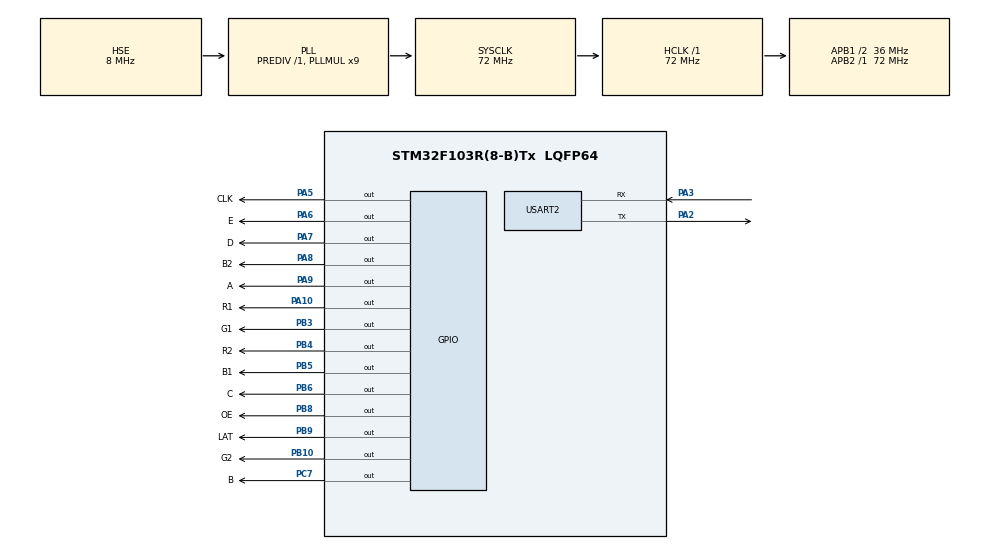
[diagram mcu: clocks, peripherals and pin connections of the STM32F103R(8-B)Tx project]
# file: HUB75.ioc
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Mcu.Family=STM32F1
Mcu.Name=STM32F103R(8-B)Tx
Mcu.Package=LQFP64
NVIC.PriorityGroup=NVIC_PRIORITYGROUP_4
PA10.GPIO_Label=R1
PA10.Signal=GPIO_Output
PA13.Mode=Serial_Wire
PA13.Signal=SYS_JTMS-SWDIO
PA14.Mode=Serial_Wire
PA14.Signal=SYS_JTCK-SWCLK
PA2.Mode=Asynchronous
PA2.Signal=USART2_TX
PA3.Mode=Asynchronous
PA3.Signal=USART2_RX
PA5.GPIO_Label=CLK
PA5.GPIO_ModeDefaultOutputPP=GPIO_MODE_OUTPUT_PP
PA5.GPIO_PuPd=GPIO_PULLUP
PA5.GPIO_Speed=GPIO_SPEED_FREQ_HIGH
PA5.PinState=GPIO_PIN_SET
PA5.Signal=GPIO_Output
PA6.GPIO_Label=E
PA6.GPIO_ModeDefaultOutputPP=GPIO_MODE_OUTPUT_PP
PA6.GPIO_PuPd=GPIO_PULLUP
PA6.GPIO_Speed=GPIO_SPEED_FREQ_HIGH
PA6.PinState=GPIO_PIN_RESET
PA6.Signal=GPIO_Output
PA7.GPIO_Label=D
PA7.GPIO_PuPd=GPIO_PULLUP
PA7.GPIO_Speed=GPIO_SPEED_FREQ_HIGH
PA7.Signal=GPIO_Output
PA8.GPIO_Label=B2
PA8.GPIO_ModeDefaultOutputPP=GPIO_MODE_OUTPUT_PP
PA8.GPIO_PuPd=GPIO_PULLUP
PA8.GPIO_Speed=GPIO_SPEED_FREQ_HIGH
PA8.PinState=GPIO_PIN_RESET
PA8.Signal=GPIO_Output
PA9.GPIO_Label=A
PA9.GPIO_PuPd=GPIO_PULLUP
PA9.GPIO_Speed=GPIO_SPEED_FREQ_HIGH
PA9.Signal=GPIO_Output
PB10.GPIO_Label=G2
PB10.GPIO_PuPd=GPIO_PULLUP
PB10.GPIO_Speed=GPIO_SPEED_FREQ_HIGH
PB10.Signal=GPIO_Output
PB3.GPIO_Label=G1
PB3.Signal=GPIO_Output
PB4.GPIO_Label=R2
PB4.Signal=GPIO_Output
PB5.GPIO_Label=B1
PB5.Signal=GPIO_Output
PB6.GPIO_Label=C
PB6.GPIO_PuPd=GPIO_PULLUP
PB6.GPIO_Speed=GPIO_SPEED_FREQ_HIGH
PB6.Signal=GPIO_Output
PB8.GPIO_Label=OE
PB8.GPIO_PuPd=GPIO_PULLUP
PB8.GPIO_Speed=GPIO_SPEED_FREQ_HIGH
PB8.PinState=GPIO_PIN_SET
PB8.Signal=GPIO_Output
PB9.GPIO_Label=LAT
PB9.GPIO_ModeDefaultOutputPP=GPIO_MODE_OUTPUT_PP
PB9.GPIO_PuPd=GPIO_PULLUP
PB9.GPIO_Speed=GPIO_SPEED_FREQ_HIGH
PB9.PinState=GPIO_PIN_RESET
PB9.Signal=GPIO_Output
PC7.GPIO_Label=B
PC7.GPIO_PuPd=GPIO_PULLUP
PC7.GPIO_Speed=GPIO_SPEED_FREQ_HIGH
PC7.Signal=GPIO_Output
PD0-OSC_IN.Mode=HSE-External-Oscillator
PD0-OSC_IN.Signal=RCC_OSC_IN
PD1-OSC_OUT.Mode=HSE-External-Oscillator
PD1-OSC_OUT.Signal=RCC_OSC_OUT
ProjectManager.HeapSize=0x400
ProjectManager.StackSize=0x800
ProjectManager.TargetToolchain=MDK-ARM V5.32
RCC.AHBFreq_Value=72000000
RCC.APB1CLKDivider=RCC_HCLK_DIV2
RCC.APB1Freq_Value=36000000
RCC.APB1TimFreq_Value=72000000
RCC.APB2Freq_Value=72000000
RCC.APB2TimFreq_Value=72000000
RCC.HCLKFreq_Value=72000000
RCC.PLLMUL=RCC_PLL_MUL9
RCC.PLLSourceVirtual=RCC_PLLSOURCE_HSE
RCC.SYSCLKFreq_VALUE=72000000
RCC.SYSCLKSource=RCC_SYSCLKSOURCE_PLLCLK
RCC.USBFreq_Value=72000000
USART2.VirtualMode=VM_ASYNC
board=custom

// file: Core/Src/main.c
/* USER CODE BEGIN Header */
/**
  ******************************************************************************
  * @file           : main.c
  * @brief          : Main program body
  ******************************************************************************
  * @attention
  *
  * Copyright (c) 2023 STMicroelectronics.
  * All rights reserved.
  *
  * This software is licensed under terms that can be found in the LICENSE file
  * in the root directory of this software component.
  * If no LICENSE file comes with this software, it is provided AS-IS.
  *
  ******************************************************************************
  */
/* USER CODE END Header */
#include "main.h"
#include "usart.h"
#include "gpio.h"

/* USER CODE BEGIN Includes */
#include "RGBMatrix_device.h"
#include "GUI_Paint.h"
/* USER CODE END Includes */

void SystemClock_Config(void);

int main(void)
{
  /* USER CODE BEGIN 1 */

//  Paint_Clear(0xff);
	//memset(BlackImage, 0xff, 8192);
  /* USER CODE END 1 */

  /* MCU Configuration--------------------------------------------------------*/

  /* Reset of all peripherals, Initializes the Flash interface and the Systick. */
  HAL_Init();

  /* Configure the system clock */
  SystemClock_Config();

  /* Initialize all configured peripherals */
  MX_GPIO_Init();
  MX_USART2_UART_Init();
  /* USER CODE BEGIN 2 */
	//Microsecond delay initialization
	DWT_Init();

	//HUB75 initialization
	HUB75_Init();

	//clear screen
	HUB75_Clear();
	printf("Display graphics.\n");

	Paint_DrawPoint(44, 9, WHITE, DOT_PIXEL_1X1, DOT_STYLE_DFT);
	Paint_DrawPoint(47, 8, WHITE, DOT_PIXEL_2X2, DOT_STYLE_DFT);
	Paint_DrawPoint(52, 7, WHITE, DOT_PIXEL_3X3, DOT_STYLE_DFT);
	Paint_DrawPoint(59, 6, WHITE, DOT_PIXEL_4X4, DOT_STYLE_DFT);

	Paint_DrawLine(20, 12, 20, 32, WHITE, DOT_PIXEL_1X1, LINE_STYLE_SOLID);
	Paint_DrawLine(10, 22, 30, 22, WHITE, DOT_PIXEL_1X1, LINE_STYLE_SOLID);
	Paint_DrawCircle(20, 22, 10, GREEN, DOT_PIXEL_1X1, DRAW_FILL_EMPTY);

	Paint_DrawLine(44, 12, 44, 32, WHITE, DOT_PIXEL_1X1, LINE_STYLE_SOLID);
	Paint_DrawLine(34, 22, 54, 22, WHITE, DOT_PIXEL_1X1, LINE_STYLE_SOLID);
	Paint_DrawCircle(44, 22, 10, BLUE, DOT_PIXEL_1X1, DRAW_FILL_EMPTY);

	Paint_DrawLine(42, 38, 64, 64, CYAN, DOT_PIXEL_1X1, LINE_STYLE_DOTTED);
	Paint_DrawLine(0, 64, 22, 38, CYAN, DOT_PIXEL_1X1, LINE_STYLE_DOTTED);

	Paint_DrawRectangle(22, 38, 42, 58, RED, DOT_PIXEL_1X1, DRAW_FILL_FULL);
	Paint_DrawCircle(32, 48, 10, PURPLE, DOT_PIXEL_1X1, DRAW_FILL_FULL);
	Paint_DrawRectangle(22, 38, 42, 58, CYAN, DOT_PIXEL_1X1, DRAW_FILL_EMPTY);

	Paint_DrawRectangle(1, 1, 64, 64, RED, DOT_PIXEL_1X1, DRAW_FILL_EMPTY);

	HUB75_Display();

	printf("Display string.\n");
	HUB75_Clear();
	Paint_DrawString_EN(5, 0, "Hello", &Font16, BLACK, YELLOW);
	Paint_DrawString_EN(5, 17, "world", &Font12, PURPLE, BLACK);
	Paint_DrawNum(0, 33, 23.456789, &Font16, 3, CYAN, BLACK);
	HUB75_Display();

	HUB75_Clear();

	printf("Display Chinese and scroll down left.\n");
	Paint_DrawString_CN(0, 10, "微雪电子", &Font24CN, CYAN, BLACK);
	int scroll = 0;
  /* USER CODE END 2 */

  /* Infinite loop */
  /* USER CODE BEGIN WHILE */
  while (1)
  {

		RGBMatrixWriteData();

		if(scroll>SCROLL_SPEED)
		{
			scroll = 0;
			scrollLeft();
			//scrollRight();
			//scrollUp();
			scrollDown();
		}

		scroll++;

    /* USER CODE END WHILE */

  }
}

void SystemClock_Config(void)
{
  RCC_OscInitTypeDef RCC_OscInitStruct = {0};
  RCC_ClkInitTypeDef RCC_ClkInitStruct = {0};

  /** Initializes the RCC Oscillators according to the specified parameters
  * in the RCC_OscInitTypeDef structure.
  */
  RCC_OscInitStruct.OscillatorType = RCC_OSCILLATORTYPE_HSE;
  RCC_OscInitStruct.HSEState = RCC_HSE_ON;
  RCC_OscInitStruct.HSEPredivValue = RCC_HSE_PREDIV_DIV1;
  RCC_OscInitStruct.HSIState = RCC_HSI_ON;
  RCC_OscInitStruct.PLL.PLLState = RCC_PLL_ON;
  RCC_OscInitStruct.PLL.PLLSource = RCC_PLLSOURCE_HSE;
  RCC_OscInitStruct.PLL.PLLMUL = RCC_PLL_MUL9;
  if (HAL_RCC_OscConfig(&RCC_OscInitStruct) != HAL_OK)
  {
    Error_Handler();
  }

  /** Initializes the CPU, AHB and APB buses clocks
  */
  RCC_ClkInitStruct.ClockType = RCC_CLOCKTYPE_HCLK|RCC_CLOCKTYPE_SYSCLK
                              |RCC_CLOCKTYPE_PCLK1|RCC_CLOCKTYPE_PCLK2;
  RCC_ClkInitStruct.SYSCLKSource = RCC_SYSCLKSOURCE_PLLCLK;
  RCC_ClkInitStruct.AHBCLKDivider = RCC_SYSCLK_DIV1;
  RCC_ClkInitStruct.APB1CLKDivider = RCC_HCLK_DIV2;
  RCC_ClkInitStruct.APB2CLKDivider = RCC_HCLK_DIV1;

  if (HAL_RCC_ClockConfig(&RCC_ClkInitStruct, FLASH_LATENCY_2) != HAL_OK)
  {
    Error_Handler();
  }
}

void Error_Handler(void)
{
  __disable_irq();
  while (1)
  {
  }
}
